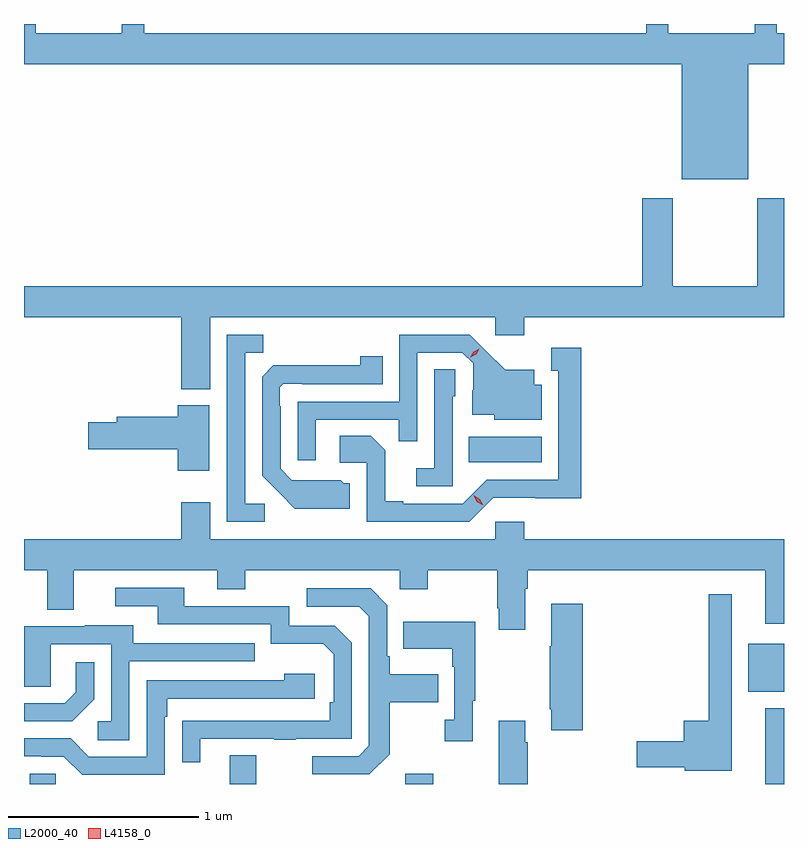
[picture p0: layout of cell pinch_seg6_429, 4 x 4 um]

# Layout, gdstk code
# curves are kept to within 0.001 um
import gdstk
lib = gdstk.Library(unit=1e-6, precision=1e-09)
def R(c, l, rs):  # rectangles x0, y0, x1, y1
    for r in rs: c.add(gdstk.rectangle(r[:2], r[2:], *l))
def P(c, l, *ps):  # polygons
    for p in ps: c.add(gdstk.Polygon(p, *l))
L2000_40 = (2000, 40)
L4158_0 = (4158, 0)

pinch_seg6_429 = lib.new_cell('pinch_seg6_429')
R(pinch_seg6_429, L2000_40, [(736.011,919.572,736.149,919.626), (737.063,919.572,737.203,919.723), (737.987,919.572,738.135,919.627), (739.883,919.572,739.981,919.972), (739.793,920.057,739.981,920.311), (738.322,921.266,738.706,921.4)])
P(pinch_seg6_429, L2000_40, [(739.442,922.754),(739.792,922.754),(739.792,923.36),(739.981,923.36),(739.981,923.524),(739.943,923.524),(739.943,923.572),(739.826,923.572),(739.826,923.524),(739.373,923.524),(739.373,923.572),(739.255,923.572),(739.255,923.524),(736.613,923.524),(736.613,923.572),(736.496,923.572),(736.496,923.524),(736.043,923.524),(736.043,923.572),(735.981,923.572),(735.981,923.36),(739.442,923.36)],
  [(736.96,922.028),(738.462,922.028),(738.462,921.933),(738.614,921.933),(738.614,922.028),(739.981,922.028),(739.981,922.654),(739.84,922.654),(739.84,922.192),(739.395,922.192),(739.395,922.654),(739.235,922.654),(739.235,922.192),(735.981,922.192),(735.981,922.028),(736.808,922.028),(736.808,921.65),(736.96,921.65)],
  [(737.517,921.489),(737.953,921.489),(737.953,921.376),(738.051,921.376),(738.051,921.843),(738.288,921.843),(738.345,921.786),(738.345,921.644),(738.341,921.644),(738.341,921.515),(738.456,921.515),(738.456,921.488),(738.706,921.488),(738.706,921.673),(738.667,921.673),(738.667,921.751),(738.515,921.751),(738.328,921.936),(737.955,921.936),(737.955,921.585),(737.421,921.585),(737.421,921.276),(737.517,921.276)],
  [(737.248,921.048),(737.145,921.048),(737.145,921.841),(737.241,921.841),(737.241,921.936),(737.049,921.936),(737.049,920.952),(737.248,920.952)],
  [(738.45,921.078),(738.913,921.077),(738.913,921.868),(738.755,921.868),(738.755,921.747),(738.794,921.747),(738.794,921.174),(738.417,921.174),(738.291,921.048),(737.977,921.048),(737.977,921.061),(737.883,921.061),(737.883,921.328),(737.807,921.404),(737.643,921.404),(737.643,921.264),(737.784,921.264),(737.784,920.952),(738.324,920.952)],
  [(737.695,921.156),(737.664,921.156),(737.648,921.172),(737.391,921.171),(737.331,921.231),(737.331,921.56),(737.328,921.56),(737.328,921.66),(737.346,921.678),(737.446,921.678),(737.446,921.675),(737.87,921.675),(737.87,921.823),(737.752,921.823),(737.752,921.776),(737.294,921.775),(737.235,921.716),(737.235,921.194),(737.407,921.02),(737.695,921.02)],
  [(738.237,921.612),(738.252,921.612),(738.252,921.755),(738.141,921.755),(738.141,921.235),(738.045,921.235),(738.045,921.138),(738.237,921.138)],
  [(736.957,921.565),(736.79,921.565),(736.79,921.506),(736.469,921.506),(736.469,921.476),(736.32,921.476),(736.32,921.334),(736.79,921.334),(736.79,921.222),(736.957,921.222)],
  [(738.619,920.6),(738.632,920.6),(738.632,920.696),(739.883,920.696),(739.883,920.415),(739.981,920.415),(739.981,920.86),(738.614,920.86),(738.614,920.953),(738.462,920.953),(738.462,920.86),(736.96,920.86),(736.96,921.055),(736.808,921.055),(736.808,920.86),(735.981,920.86),(735.981,920.696),(736.103,920.696),(736.103,920.488),(736.243,920.488),(736.243,920.696),(736.997,920.696),(736.997,920.597),(737.145,920.597),(737.145,920.696),(737.958,920.696),(737.958,920.597),(738.105,920.597),(738.105,920.696),(738.472,920.696),(738.472,920.497),(738.479,920.497),(738.479,920.385),(738.619,920.385)],
  [(736.909,919.809),(737.299,919.809),(737.299,919.804),(737.411,919.804),(737.411,919.809),(737.706,919.809),(737.706,920.316),(737.616,920.406),(737.376,920.406),(737.376,920.508),(736.825,920.508),(736.825,920.604),(736.461,920.604),(736.461,920.508),(736.685,920.508),(736.685,920.412),(737.28,920.412),(737.28,920.309),(737.557,920.309),(737.61,920.256),(737.61,920.002),(737.59,920.002),(737.59,919.905),(736.813,919.904),(736.813,919.686),(736.909,919.686)],
  [(737.905,919.729),(737.905,920.002),(738.161,920.002),(738.161,920.149),(737.905,920.149),(737.905,920.245),(737.892,920.245),(737.892,920.514),(737.805,920.601),(737.469,920.601),(737.469,920.505),(737.745,920.505),(737.796,920.454),(737.796,919.773),(737.742,919.719),(737.499,919.719),(737.499,919.623),(737.799,919.623)],
  [(739.705,920.572),(739.584,920.572),(739.584,919.906),(739.454,919.906),(739.454,919.796),(739.206,919.796),(739.206,919.661),(739.458,919.661),(739.458,919.643),(739.705,919.643)],
  [(738.923,920.521),(738.755,920.521),(738.755,920.297),(738.748,920.297),(738.748,919.966),(738.755,919.966),(738.755,919.854),(738.923,919.854)],
  [(738.343,920.009),(738.355,920.009),(738.355,920.425),(737.977,920.425),(737.977,920.285),(738.234,920.285),(738.234,920.189),(738.246,920.189),(738.246,919.91),(738.195,919.91),(738.195,919.797),(738.343,919.797)],
  [(736.536,920.217),(737.195,920.217),(737.195,920.313),(736.555,920.313),(736.555,920.407),(736.301,920.407),(736.301,920.403),(735.981,920.403),(735.981,920.083),(736.122,920.083),(736.122,920.307),(736.44,920.307),(736.44,919.902),(736.368,919.902),(736.368,919.801),(736.536,919.801)],
  [(736.35,920.018),(736.35,920.212),(736.253,920.212),(736.253,920.055),(736.196,919.998),(735.981,919.998),(735.981,919.902),(736.234,919.902)],
  [(736.722,919.925),(736.735,919.925),(736.735,920.022),(737.512,920.022),(737.512,920.152),(737.351,920.152),(737.351,920.118),(736.626,920.118),(736.626,919.716),(736.323,919.716),(736.227,919.812),(735.981,919.812),(735.981,919.719),(736.073,919.719),(736.073,919.716),(736.191,919.716),(736.287,919.62),(736.722,919.62)],
  [(738.632,919.793),(738.619,919.793),(738.619,919.906),(738.479,919.906),(738.479,919.572),(738.632,919.572)])
P(pinch_seg6_429, L4158_0, [(738.397,921.039),(738.365,921.058),(738.348,921.091),(738.348,921.091),(738.348,921.091),(738.379,921.072),(738.397,921.04),(738.397,921.039)],
  [(738.33,921.818),(738.33,921.819),(738.347,921.848),(738.377,921.863),(738.378,921.863),(738.378,921.863),(738.36,921.833),(738.33,921.818)])

lib.write_gds('pinch_seg6_429.gds')
